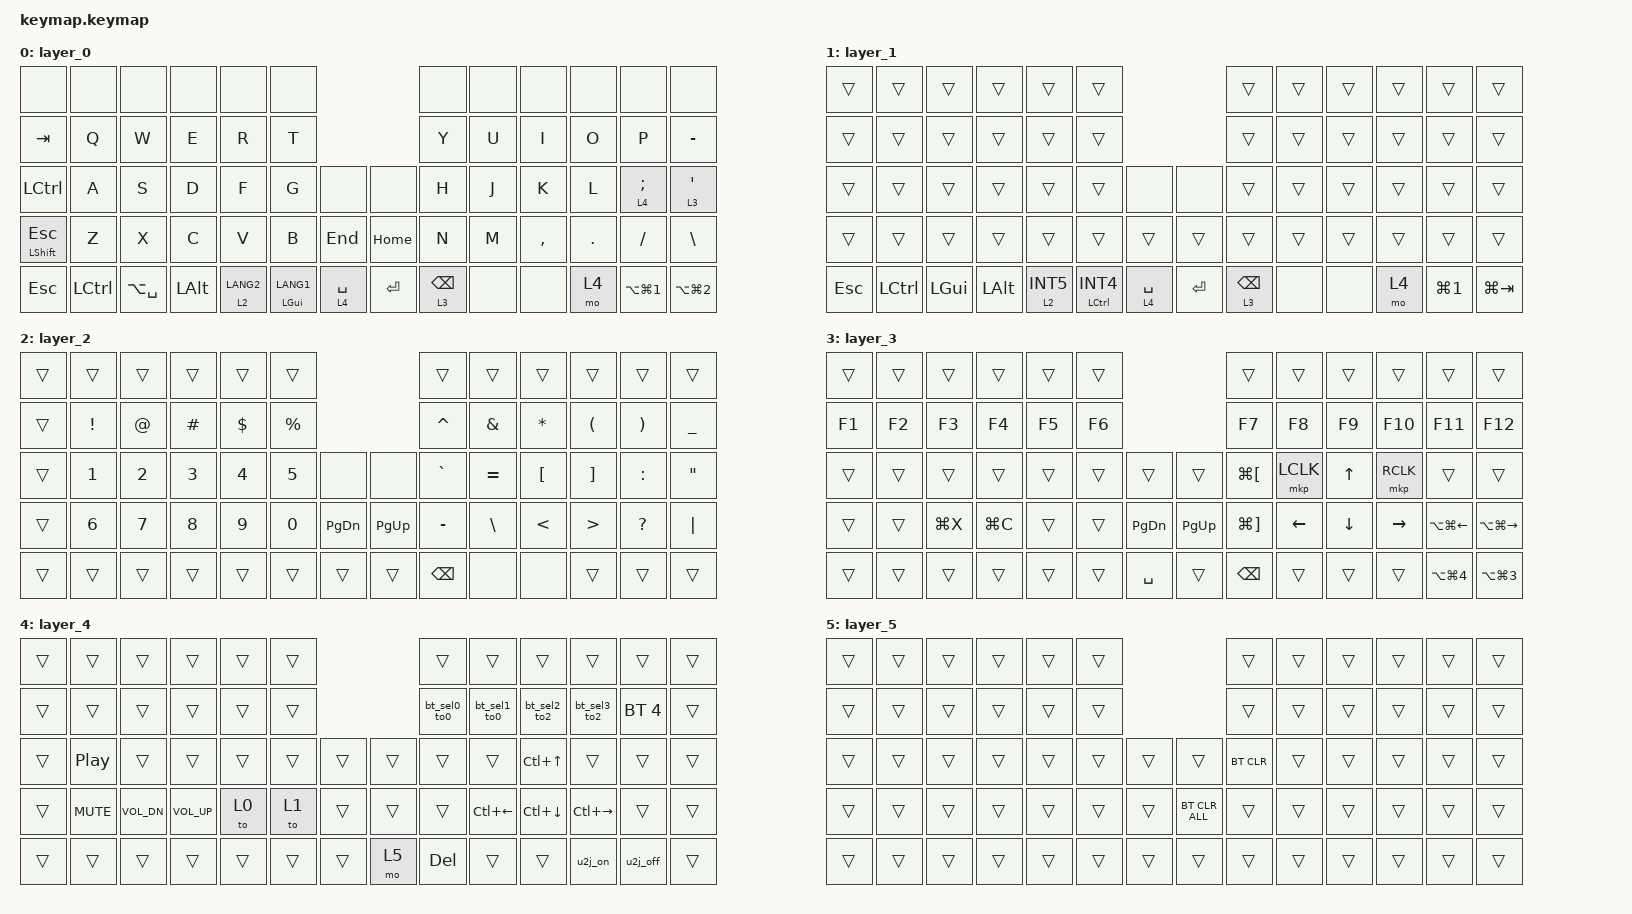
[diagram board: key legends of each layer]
#include <behaviors.dtsi>
#include <behaviors/us_to_jis.dtsi>
#include <dt-bindings/zmk/bt.h>
#include <dt-bindings/zmk/keys.h>
#include <dt-bindings/zmk/outputs.h>
#include <dt-bindings/zmk/pointing.h>

#define JP_KANA         LANGUAGE_1        // かな
#define JP_EISU         LANGUAGE_2        // 英数
#define JP_HANZEN       GRAVE             // 半角/全角
#define JP_HEN          INT4              // 変換
#define JP_MUHEN        INT5              // 無変換

/ {

    combos {
        compatible = "zmk,combos";

        bt_clear {
            bindings = <&bt BT_CLR>;
            key-positions = <28 29>;
            layers = <1>;
        };
    };

    macros {
        bt_sel0_to0: bt_sel0_to0 {
            compatible = "zmk,behavior-macro";
            #binding-cells = <0>;
            bindings = <&macro_tap &bt BT_SEL 0 &to 0 &u2j_off>;
        };

        bt_sel1_to0: bt_sel1_to0 {
            compatible = "zmk,behavior-macro";
            #binding-cells = <0>;
            bindings = <&macro_tap &bt BT_SEL 1 &to 0 &u2j_off>;
        };

        bt_sel2_to2: bt_sel2_to2 {
            compatible = "zmk,behavior-macro";
            #binding-cells = <0>;
            bindings = <&macro_tap &bt BT_SEL 2 &to 1 &u2j_on>;
        };

        bt_sel3_to2: bt_sel3_to2 {
            compatible = "zmk,behavior-macro";
            #binding-cells = <0>;
            bindings = <&macro_tap &bt BT_SEL 3 &to 1 &u2j_on>;
        };
    };

    behaviors {
        ctrl_hen: ctrl_hen {
            compatible = "zmk,behavior-hold-tap";
            #binding-cells = <2>;
            flavor = "tap-preferred";
            tapping-term-ms = <180>;
            quick-tap-ms = <200>;
            bindings = <&kp>, <&kp>;
        };
    };

    keymap {
        compatible = "zmk,keymap";
        layer_0 {
            bindings = <
&none          &none      &none         &none     &none       &none                                   &none       &none  &none      &none    &none          &none
&kp TAB        &kp Q      &kp W         &kp E     &kp R       &kp T                                   &kp Y       &kp U  &kp I      &kp O    &kp P          &kp MINUS
&kp LCTRL      &kp A      &kp S         &kp D     &kp F       &kp G           &none        &none      &kp H       &kp J  &kp K      &kp L    &lt 4 SEMI     &lt 3 SQT
&mt LSHIFT ESC &kp Z      &kp X         &kp C     &kp V       &kp B           &kp END      &kp HOME   &kp N       &kp M  &kp COMMA  &kp DOT  &kp SLASH      &kp BACKSLASH
&kp ESCAPE     &kp LCTRL  &kp LA(SPACE) &kp LALT  &lt 2 LANG2 &mt LGUI LANG1  &lt 4 SPACE  &kp ENTER  &lt 3 BSPC  &none  &none      &mo 4    &kp LA(LG(N1)) &kp LA(LG(N2))
            >;
        };

        layer_1 {
            bindings = <
&trans       &trans      &trans   &trans   &trans         &trans                                        &trans     &trans  &trans  &trans  &trans     &trans
&trans       &trans      &trans   &trans   &trans         &trans                                        &trans     &trans  &trans  &trans  &trans     &trans
&trans       &trans      &trans   &trans   &trans         &trans                 &none        &none     &trans     &trans  &trans  &trans  &trans     &trans
&trans       &trans      &trans   &trans   &trans         &trans                 &trans       &trans    &trans     &trans  &trans  &trans  &trans     &trans
&kp ESCAPE   &kp LCTRL   &kp LGUI &kp LALT &lt 2 JP_MUHEN &ctrl_hen LCTRL JP_HEN &lt 4 SPACE  &kp ENTER &lt 3 BSPC &none   &none   &mo 4   &kp LG(N1) &kp LG(TAB)
            >;
        };

        layer_2 {
            bindings = <
&trans  &trans    &trans       &trans    &trans      &trans                                  &trans         &trans         &trans     &trans    &trans        &trans
&trans  &kp EXCL  &kp AT_SIGN  &kp HASH  &kp DOLLAR  &kp PERCENT                             &kp CARET      &kp AMPS       &kp ASTRK  &kp LPAR  &kp RPAR      &kp UNDER
&trans  &kp N1    &kp N2       &kp N3    &kp N4      &kp N5      &none          &none        &kp GRAVE      &kp EQUAL      &kp LBKT   &kp RBKT  &kp COLON     &kp DQT
&trans  &kp N6    &kp N7       &kp N8    &kp N9      &kp N0      &kp PAGE_DOWN  &kp PAGE_UP  &kp MINUS      &kp BACKSLASH  &kp LT     &kp GT    &kp QUESTION  &kp PIPE
&trans  &trans    &trans       &trans    &trans      &trans      &trans         &trans       &kp BSPC       &none          &none      &trans    &trans        &trans
            >;
        };

        layer_3 {
            bindings = <
&trans  &trans  &trans     &trans     &trans     &trans                              &trans        &trans     &trans    &trans     &trans           &trans
&kp F1  &kp F2  &kp F3     &kp F4     &kp F5     &kp F6                              &kp F7        &kp F8     &kp F9    &kp F10    &kp F11          &kp F12
&trans  &trans  &trans     &trans     &trans     &trans  &trans         &trans       &kp LG(LBKT)  &mkp LCLK  &kp UP    &mkp RCLK  &trans           &trans
&trans  &trans  &kp LG(X)  &kp LG(C)  &trans     &trans  &kp PAGE_DOWN  &kp PAGE_UP  &kp LG(RBKT)  &kp LEFT   &kp DOWN  &kp RIGHT  &kp LA(LG(LEFT)) &kp LA(LG(RIGHT))
&trans  &trans  &trans     &trans     &trans     &trans  &kp SPACE      &trans       &kp BSPC      &trans     &trans    &trans     &kp LA(LG(N4))   &kp LA(LG(N3))
            >;
        };

        layer_4 {
            bindings = <
&trans &trans            &trans        &trans        &trans &trans                 &trans        &trans        &trans            &trans         &trans        &trans
&trans &trans            &trans        &trans        &trans &trans                 &bt_sel0_to0  &bt_sel1_to0  &bt_sel2_to2      &bt_sel3_to2   &bt BT_SEL 4  &trans
&trans &kp C_PLAY_PAUSE  &trans        &trans        &trans &trans  &trans  &trans &trans        &trans        &kp LC(UP_ARROW)  &trans         &trans        &trans
&trans &kp C_MUTE        &kp C_VOL_DN  &kp C_VOL_UP  &to 0  &to 1   &trans  &trans &trans        &kp LC(LEFT)  &kp LC(DOWN)      &kp LC(RIGHT)  &trans        &trans 
&trans &trans            &trans        &trans        &trans &trans  &trans  &mo 5  &kp DEL       &trans        &trans            &u2j_on        &u2j_off      &trans
            >;
        };

        layer_5 {
            bindings = <
&trans  &trans  &trans  &trans  &trans  &trans                         &trans  &trans     &trans  &trans  &trans  &trans
&trans  &trans  &trans  &trans  &trans  &trans                         &trans  &trans     &trans  &trans  &trans  &trans
&trans  &trans  &trans  &trans  &trans  &trans  &trans  &trans         &bt BT_CLR &trans  &trans  &trans  &trans  &trans
&trans  &trans  &trans  &trans  &trans  &trans  &trans  &bt BT_CLR_ALL &trans  &trans     &trans  &trans  &trans  &trans
&trans  &trans  &trans  &trans  &trans  &trans  &trans  &trans         &trans  &trans     &trans  &trans  &trans  &trans
            >;
        };
    };
};
